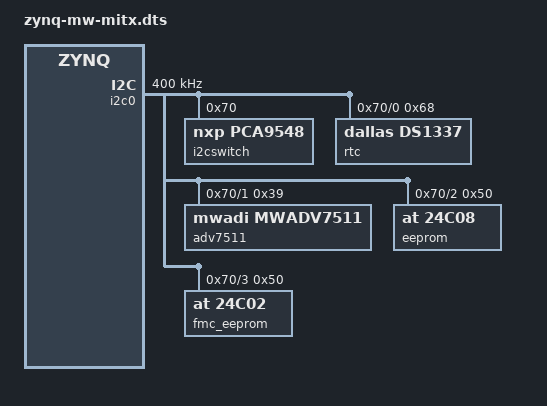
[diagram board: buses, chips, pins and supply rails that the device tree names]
/dts-v1/;

/include/ "zynq-mini-itx.dtsi"
/include/ "zynq-mw-ipcore.dtsi"

/ {
	chosen {
        bootargs = "console=ttyPS0,115200 root=/dev/ram rw earlyprintk";
		linux,stdout-path = "/amba@0/uart@E0001000";
	};
	
	amba@0 {
		i2c0: i2c@e0004000 {
			clock-frequency = <400000>;
			clocks = <&clkc 38>;
			compatible = "cdns,i2c-r1p10";
			i2c-reset = <&gpio 46 0>;
			interrupt-parent = <&gic>;
			interrupts = <0 25 4>;
			reg = <0xe0004000 0x1000>;
			xlnx,has-interrupt = <0x0>;
			#address-cells = <1>;
			#size-cells = <0>;
			
			i2cswitch@70 {
				compatible = "nxp,pca9548";
				#address-cells = <1>;
				#size-cells = <0>;
				reg = <0x70>;

				i2c@0 {
					#address-cells = <1>;
					#size-cells = <0>;
					reg = <0>;
					rtc@68 {
						compatible = "dallas,ds1337";
						reg = <0x68>;
					};
				};
				
				i2c@1 {
					#address-cells = <1>;
					#size-cells = <0>;
					reg = <1>;
					adv7511: adv7511 {
						compatible = "mwadi,mwadv7511";
						reg = <0x39>;

						adi,input-style = <0x02>;
						adi,input-id = <0x01>;
						adi,input-color-depth = <0x3>;
						adi,sync-pulse = <0x03>;
						adi,bit-justification = <0x01>;
						adi,up-conversion = <0x00>;
						adi,timing-generation-sequence = <0x00>;
						adi,vsync-polarity = <0x02>;
						adi,hsync-polarity = <0x02>;
						adi,tdms-clock-inversion;
						adi,clock-delay = <0x03>;
				    };
				};

				i2c@2 {
					#address-cells = <1>;
					#size-cells = <0>;
					reg = <2>;
					eeprom@54 {
						compatible = "at,24c08";
						reg = <0x50>;
					};
				};
				
				i2c@3 {
					#address-cells = <1>;
					#size-cells = <0>;
					reg = <3>;
					fmc_eeprom: eeprom@50 {
						compatible = "at,24c02";
						reg = <0x50>;
					};
				};
			};
		};	
	};
};
